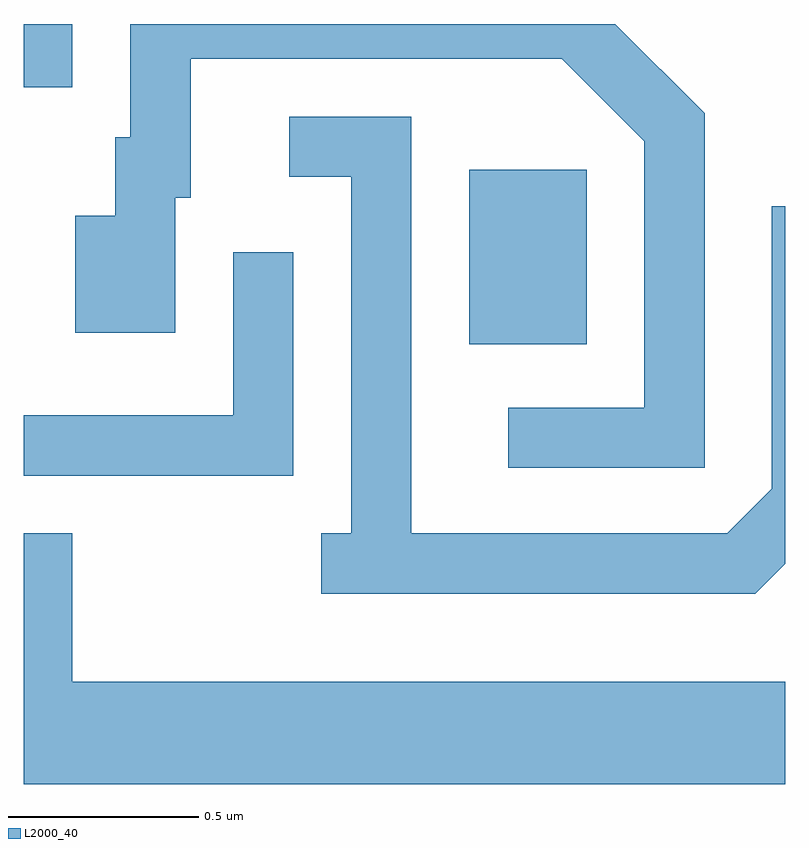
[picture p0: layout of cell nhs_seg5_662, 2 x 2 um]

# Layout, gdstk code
import gdstk
lib = gdstk.Library(unit=1e-6, precision=1e-09)
def R(c, l, rs):  # rectangles x0, y0, x1, y1
    for r in rs: c.add(gdstk.rectangle(r[:2], r[2:], *l))
def P(c, l, *ps):  # polygons
    for p in ps: c.add(gdstk.Polygon(p, *l))
L2000_40 = (2000, 40)

nhs_seg5_662 = lib.new_cell('nhs_seg5_662')
R(nhs_seg5_662, L2000_40, [(190.781,1511.231,191.089,1511.689), (189.611,1511.906,189.739,1512.072)])
P(nhs_seg5_662, L2000_40, [(191.399,1511.837),(191.164,1512.072),(189.891,1512.072),(189.891,1511.774),(189.851,1511.774),(189.851,1511.569),(189.746,1511.569),(189.746,1511.261),(190.009,1511.261),(190.009,1511.616),(190.049,1511.616),(190.049,1511.981),(191.024,1511.981),(191.241,1511.764),(191.241,1511.064),(190.883,1511.064),(190.883,1510.906),(191.399,1510.906)],
  [(191.611,1510.655),(191.611,1511.593),(191.576,1511.593),(191.576,1510.852),(191.459,1510.734),(190.629,1510.734),(190.629,1511.829),(190.308,1511.829),(190.308,1511.671),(190.471,1511.671),(190.471,1510.734),(190.393,1510.734),(190.393,1510.576),(191.532,1510.576)],
  [(190.319,1511.473),(190.161,1511.473),(190.161,1511.044),(189.611,1511.044),(189.611,1510.886),(190.319,1510.886)],
  [(191.611,1510.344),(189.739,1510.344),(189.739,1510.734),(189.611,1510.734),(189.611,1510.076),(191.611,1510.076)])

lib.write_gds('nhs_seg5_662.gds')
